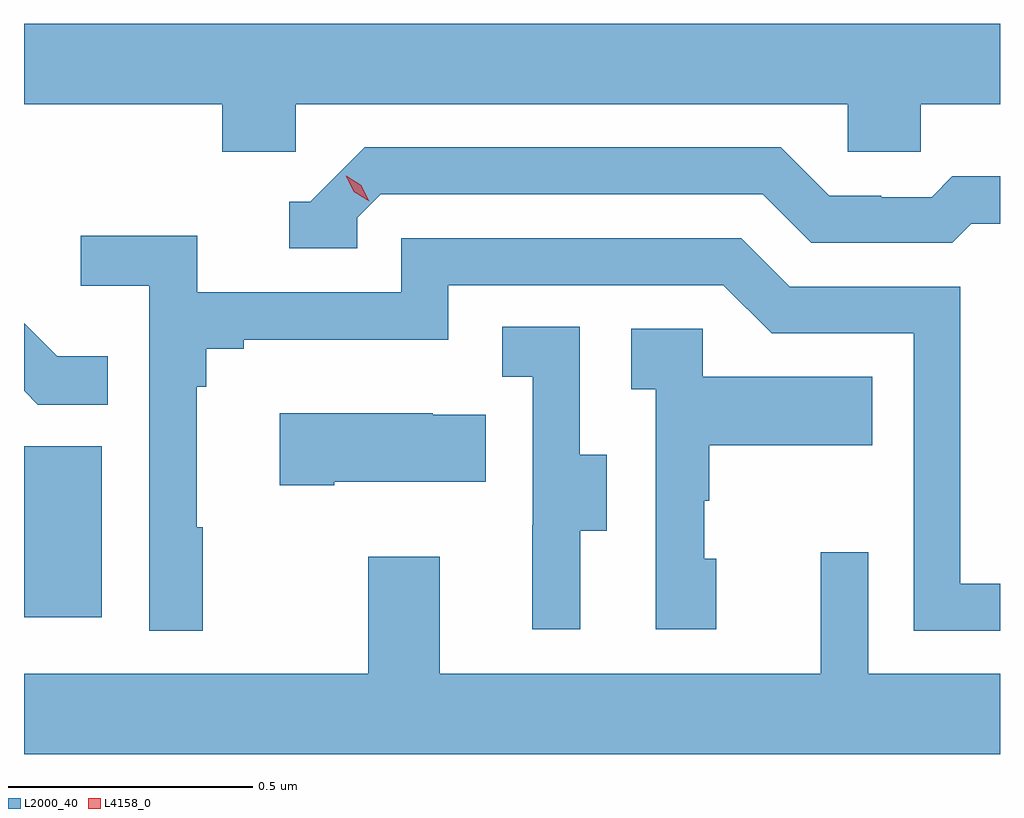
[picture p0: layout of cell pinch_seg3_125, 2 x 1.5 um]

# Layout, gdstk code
import gdstk
lib = gdstk.Library(unit=1e-6, precision=1e-09)
def P(c, l, *ps):  # polygons
    for p in ps: c.add(gdstk.Polygon(p, *l))
L2000_40 = (2000, 40)
L4158_0 = (4158, 0)

pinch_seg3_125 = lib.new_cell('pinch_seg3_125')
P(pinch_seg3_125, L2000_40, [(1054.122,714.236),(1055.253,714.236),(1055.253,714.138),(1055.403,714.138),(1055.403,714.236),(1055.565,714.236),(1055.565,714.4),(1053.565,714.4),(1053.565,714.236),(1053.971,714.236),(1053.971,714.138),(1054.122,714.138)],
  [(1054.248,714.003),(1054.296,714.051),(1055.079,714.051),(1055.178,713.952),(1055.467,713.952),(1055.506,713.991),(1055.565,713.991),(1055.565,714.088),(1055.467,714.088),(1055.425,714.045),(1055.322,714.045),(1055.322,714.048),(1055.215,714.048),(1055.116,714.147),(1054.263,714.147),(1054.152,714.036),(1054.109,714.036),(1054.109,713.94),(1054.248,713.94)],
  [(1053.931,713.369),(1053.919,713.369),(1053.919,713.657),(1053.938,713.657),(1053.938,713.734),(1054.015,713.734),(1054.015,713.753),(1054.434,713.753),(1054.434,713.865),(1054.998,713.865),(1055.097,713.766),(1055.388,713.766),(1055.388,713.157),(1055.565,713.157),(1055.565,713.253),(1055.484,713.253),(1055.484,713.862),(1055.134,713.862),(1055.035,713.961),(1054.338,713.961),(1054.338,713.85),(1053.92,713.85),(1053.92,713.966),(1053.681,713.966),(1053.681,713.864),(1053.822,713.864),(1053.822,713.157),(1053.931,713.157)],
  [(1053.737,713.719),(1053.633,713.719),(1053.565,713.787),(1053.565,713.648),(1053.593,713.62),(1053.737,713.62)],
  [(1054.705,713.362),(1054.759,713.362),(1054.759,713.517),(1054.704,713.517),(1054.704,713.78),(1054.545,713.78),(1054.545,713.677),(1054.608,713.677),(1054.608,713.373),(1054.607,713.373),(1054.607,713.16),(1054.705,713.16)],
  [(1054.984,713.304),(1054.959,713.304),(1054.959,713.423),(1054.969,713.423),(1054.969,713.537),(1055.303,713.537),(1055.303,713.677),(1054.956,713.677),(1054.956,713.775),(1054.809,713.775),(1054.809,713.651),(1054.86,713.651),(1054.86,713.16),(1054.984,713.16)],
  [(1054.201,713.462),(1054.511,713.462),(1054.511,713.599),(1054.403,713.599),(1054.403,713.602),(1054.089,713.602),(1054.089,713.455),(1054.201,713.455)],
  [(1053.724,713.535),(1053.565,713.535),(1053.565,713.427),(1053.566,713.427),(1053.566,713.184),(1053.724,713.184)],
  [(1055.565,713.068),(1055.295,713.068),(1055.295,713.317),(1055.198,713.317),(1055.198,713.068),(1054.417,713.068),(1054.417,713.308),(1054.27,713.308),(1054.27,713.068),(1053.565,713.068),(1053.565,712.904),(1055.565,712.904)])
P(pinch_seg3_125, L4158_0, [(1054.272,714.037),(1054.241,714.056),(1054.225,714.088),(1054.225,714.089),(1054.225,714.089),(1054.256,714.07),(1054.272,714.037),(1054.272,714.037)])

lib.write_gds('pinch_seg3_125.gds')
